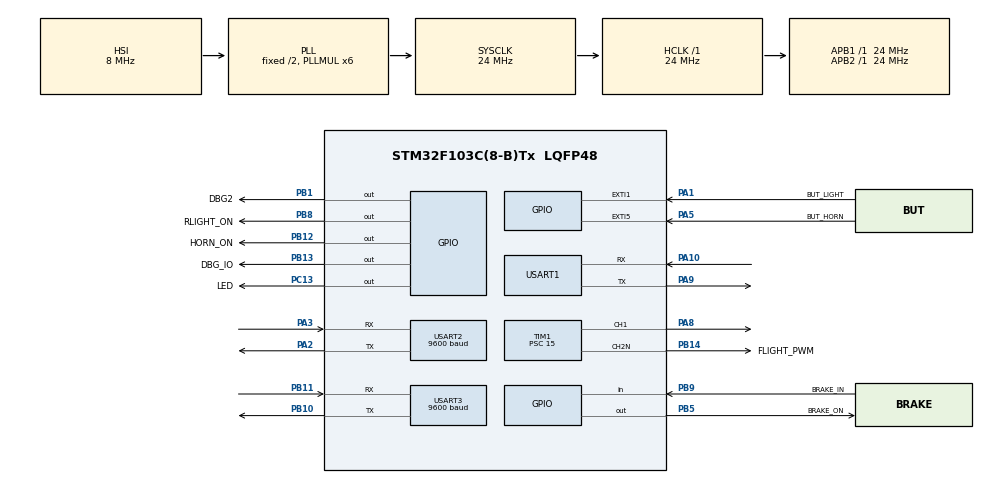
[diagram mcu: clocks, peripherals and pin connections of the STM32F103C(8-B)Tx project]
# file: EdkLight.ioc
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Dma.Request0=USART2_TX
Dma.Request1=USART3_TX
Dma.Request2=USART1_TX
Dma.USART1_TX.2.Direction=DMA_MEMORY_TO_PERIPH
Dma.USART1_TX.2.Instance=DMA1_Channel4
Dma.USART1_TX.2.MemDataAlignment=DMA_MDATAALIGN_BYTE
Dma.USART1_TX.2.MemInc=DMA_MINC_ENABLE
Dma.USART1_TX.2.Mode=DMA_NORMAL
Dma.USART1_TX.2.PeriphDataAlignment=DMA_PDATAALIGN_BYTE
Dma.USART1_TX.2.PeriphInc=DMA_PINC_DISABLE
Dma.USART1_TX.2.Priority=DMA_PRIORITY_LOW
Dma.USART2_TX.0.Direction=DMA_MEMORY_TO_PERIPH
Dma.USART2_TX.0.Instance=DMA1_Channel7
Dma.USART2_TX.0.MemDataAlignment=DMA_MDATAALIGN_BYTE
Dma.USART2_TX.0.MemInc=DMA_MINC_ENABLE
Dma.USART2_TX.0.Mode=DMA_NORMAL
Dma.USART2_TX.0.PeriphDataAlignment=DMA_PDATAALIGN_BYTE
Dma.USART2_TX.0.PeriphInc=DMA_PINC_DISABLE
Dma.USART2_TX.0.Priority=DMA_PRIORITY_LOW
Dma.USART3_TX.1.Direction=DMA_MEMORY_TO_PERIPH
Dma.USART3_TX.1.Instance=DMA1_Channel2
Dma.USART3_TX.1.MemDataAlignment=DMA_MDATAALIGN_BYTE
Dma.USART3_TX.1.MemInc=DMA_MINC_ENABLE
Dma.USART3_TX.1.Mode=DMA_NORMAL
Dma.USART3_TX.1.PeriphDataAlignment=DMA_PDATAALIGN_BYTE
Dma.USART3_TX.1.PeriphInc=DMA_PINC_DISABLE
Dma.USART3_TX.1.Priority=DMA_PRIORITY_LOW
Mcu.Family=STM32F1
Mcu.Name=STM32F103C(8-B)Tx
Mcu.Package=LQFP48
NVIC.DMA1_Channel2_IRQn=true\:0\:0\:false\:false\:true\:false\:true\:true
NVIC.DMA1_Channel4_IRQn=true\:0\:0\:false\:false\:true\:false\:true\:true
NVIC.DMA1_Channel7_IRQn=true\:0\:0\:false\:false\:true\:false\:true\:true
NVIC.EXTI1_IRQn=true\:1\:0\:true\:false\:true\:true\:true\:true
NVIC.EXTI9_5_IRQn=true\:1\:0\:true\:false\:true\:true\:true\:true
NVIC.PriorityGroup=NVIC_PRIORITYGROUP_4
NVIC.TIM2_IRQn=true\:0\:0\:false\:false\:true\:true\:true\:true
NVIC.TIM3_IRQn=true\:0\:0\:false\:false\:true\:true\:true\:true
NVIC.USART1_IRQn=true\:0\:0\:false\:false\:true\:true\:true\:true
NVIC.USART2_IRQn=true\:0\:0\:false\:false\:true\:true\:true\:true
NVIC.USART3_IRQn=true\:0\:0\:false\:false\:true\:true\:true\:true
PA1.GPIO_Label=BUT_LIGHT
PA1.GPIO_ModeDefaultEXTI=GPIO_MODE_IT_RISING_FALLING
PA1.GPIO_PuPd=GPIO_PULLUP
PA1.Signal=GPXTI1
PA10.Mode=Asynchronous
PA10.Signal=USART1_RX
PA13.Mode=Serial_Wire
PA13.Signal=SYS_JTMS-SWDIO
PA14.Mode=Serial_Wire
PA14.Signal=SYS_JTCK-SWCLK
PA2.Mode=Asynchronous
PA2.Signal=USART2_TX
PA3.Mode=Asynchronous
PA3.Signal=USART2_RX
PA5.GPIO_Label=BUT_HORN
PA5.GPIO_ModeDefaultEXTI=GPIO_MODE_IT_RISING_FALLING
PA5.GPIO_PuPd=GPIO_PULLUP
PA5.Signal=GPXTI5
PA8.Signal=S_TIM1_CH1
PA9.Mode=Asynchronous
PA9.Signal=USART1_TX
PB1.GPIO_Label=DBG2
PB1.Signal=GPIO_Output
PB10.Mode=Asynchronous
PB10.Signal=USART3_TX
PB11.Mode=Asynchronous
PB11.Signal=USART3_RX
PB12.GPIO_Label=HORN_ON
PB12.Signal=GPIO_Output
PB13.GPIO_Label=DBG_IO
PB13.Signal=GPIO_Output
PB14.GPIO_Label=FLIGHT_PWM
PB14.Mode=PWM Generation2 CH2N
PB14.Signal=TIM1_CH2N
PB5.GPIO_Label=BRAKE_ON
PB5.Signal=GPIO_Output
PB8.GPIO_Label=RLIGHT_ON
PB8.Signal=GPIO_Output
PB9.GPIO_Label=BRAKE_IN
PB9.GPIO_PuPd=GPIO_PULLUP
PB9.Signal=GPIO_Input
PC13-TAMPER-RTC.GPIO_Label=LED
PC13-TAMPER-RTC.Signal=GPIO_Output
ProjectManager.HeapSize=0x200
ProjectManager.StackSize=0x400
ProjectManager.TargetToolchain=STM32CubeIDE
RCC.AHBFreq_Value=24000000
RCC.APB1Freq_Value=24000000
RCC.APB1TimFreq_Value=24000000
RCC.APB2Freq_Value=24000000
RCC.APB2TimFreq_Value=24000000
RCC.HCLKFreq_Value=24000000
RCC.PLLMUL=RCC_PLL_MUL6
RCC.SYSCLKFreq_VALUE=24000000
RCC.SYSCLKSource=RCC_SYSCLKSOURCE_PLLCLK
RCC.USBFreq_Value=24000000
SH.S_TIM1_CH1.0=TIM1_CH1,PWM Generation1 CH1
TIM1.Channel-PWM\ Generation1\ CH1=TIM_CHANNEL_1
TIM1.Channel-PWM\ Generation2\ CH2N=TIM_CHANNEL_2
TIM1.Period=1024
TIM1.Prescaler=15
TIM1.Pulse-PWM\ Generation2\ CH2N=512
TIM2.Period=2048
TIM2.Prescaler=15
TIM3.CounterMode=TIM_COUNTERMODE_UP
TIM3.Period=2048
TIM3.Prescaler=15
USART1.VirtualMode=VM_ASYNC
USART2.BaudRate=9600
USART2.VirtualMode=VM_ASYNC
USART3.BaudRate=9600
USART3.VirtualMode=VM_ASYNC
VP_TIM1_VS_ClockSourceINT.Mode=Internal
VP_TIM2_VS_ClockSourceINT.Mode=Internal
VP_TIM3_VS_ClockSourceINT.Mode=Internal
board=custom

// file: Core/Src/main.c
/* USER CODE BEGIN Header */
/**
  ******************************************************************************
  * @file           : main.c
  * @brief          : Main program body
  ******************************************************************************
  * @attention
  *
  * Copyright (c) 2026 STMicroelectronics.
  * All rights reserved.
  *
  * This software is licensed under terms that can be found in the LICENSE file
  * in the root directory of this software component.
  * If no LICENSE file comes with this software, it is provided AS-IS.
  *
  ******************************************************************************
  */
/* USER CODE END Header */
#include "main.h"
#include "dma.h"
#include "tim.h"
#include "usart.h"
#include "gpio.h"

/* USER CODE BEGIN Includes */
#include <stdio.h>
#include <string.h>
#include <ctype.h>
/* USER CODE END Includes */

/* USER CODE BEGIN PM */
#define ARRAY_SIZE(x)  (sizeof(x)/sizeof(x[0]))
/* USER CODE END PM */

void SystemClock_Config(void);
/* USER CODE BEGIN PFP */
void Task_Ligth();
void MotDbg( char *str);

void SaveSetting();
/* USER CODE END PFP */

/* USER CODE BEGIN 0 */
#define SOFT_TIMEOUT	3 // ifdef use rx end of  message by soft time  time out else h/w timer used
//the 3  define the  time out in tick so between 2 and 3  ms given  1 ms error  on start and check
struct UartRcv_t {
	const char *Name; //human readable nick naleuse in log etc ..
	char RxByte; // recv byte
	volatile uint8_t nRx;   // Data cnt in Rx Buf
	uint8_t RxMax; // Size of burst

	char HdrByte; // first byte expected value

	int RxBufSz;
	char RxBuf[16]; //

	int nErr;
	volatile int TimedOut;
	uint32_t LastRcvGood; // tick last full msg received
	uint32_t LastRxTick; // last char received tick for soft time out handling
	uint32_t BadRx;
	UART_HandleTypeDef *huart;
	TIM_HandleTypeDef  *htim;
	void  (*Process)(struct UartRcv_t *Rx); //call when burst data received
};

// led set ticking in idle with low/high leelv state  fm light status => don' give info on live rx+f/w status
// Led set by process and then  toggle once by idle after short time is better
//   led blink until rx is ok ,if not bug f/W stuck ?
//   "static" led level high/low is the light sniffed level
volatile int light_upd; // flags set when edk reception done (potential light,speed  change )
volatile int LightOn=0; // set by com of edk+man when chanign one call SetLighON if nto then udpate wil loccur and net light task
volatile int EdkLightOn=0; // set by process to sniffed light  value
volatile int ManLightOn=0; // set by process to sniffed light  value
int LightOn_p=1; //task previous light level used (chg detection)
int OnLvl_p=0;   // previous ser ligh level
int HiBeam, HiBeam_p;
int FlightPwm = 0; //may init by ee or chg by button combo
uint32_t LedSetTick;
struct GlobStatus_t gStats;
//todo below make init value from nvm
volatile int OnLvl=512;

#define MinLongPressMs 1000  //ee read clip value

//motor
int MotRcvCnt=0;
char MotInfo[64];
int MotSpeed;
const int SpeedInvalid=0x7777; //until more than  noNove shall do
const int SpeedNoMove=0x0707;
int MotNoRxMaxMs = 1000; //normaly 15fps so 500ms+  well set invaldi speed
int MotTorque;
uint8_t MotStatus;

void DbgIO(int set){
	if( set ==0 || set ==1 )
		HAL_GPIO_WritePin(DBG_IO_GPIO_Port, DBG_IO_Pin, set);
	else
		HAL_GPIO_TogglePin(DBG_IO_GPIO_Port, DBG_IO_Pin);
}

void DbgIO2(int set){
	if( set ==0 || set ==1 )
		HAL_GPIO_WritePin(DBG2_GPIO_Port, DBG2_Pin, set);
	else
		HAL_GPIO_TogglePin(DBG2_GPIO_Port, DBG2_Pin);
}

uint32_t SumSerie(uint8_t *Data, int n){
	uint32_t sum;
	int i;
	for( i=0, sum=0; i<n; i++)
		sum+=Data[i];
	return sum;
}

//Rx shall have at least RaMax data this is not check here
/**
 * VAldiate buffer start byet and sum
 * Rx shall have at least RaMax data this is not check here
 * @param Rx The ex
 * @return 0 f validate non 0 otherwise
 */
int RxValidate(struct UartRcv_t *Rx) {
	uint32_t sum;
	if (Rx->RxBuf[0] == Rx->HdrByte ) {
		sum = SumSerie((uint8_t*) Rx->RxBuf, Rx->RxMax-1);
		if ( (sum & 0xFF) == Rx->RxBuf[Rx->RxMax - 1]) {
			return 0;//ok packet is valid
		}
	}
	return -1;
}

void  EdkProcess(struct UartRcv_t *Rx){
	if( RxValidate(Rx)==0 ){
		Rx->LastRcvGood = HAL_GetTick();
		EdkLightOn =Rx->RxBuf[1]&0x01; // bit 0 of control motor flags
		light_upd=1;
	}else {
		Rx->BadRx++;// shit rx 1 byte ?
	}
}

//from https://github.com/PetteriAimonen/STM32_Trace_Example/blob/master/trace_example.c
void ITM_Print(int port, const char *p)
{
    if ((ITM->TCR & ITM_TCR_ITMENA_Msk) && (ITM->TER & (1UL << port)))
    {
        while (*p)
        {
            while (ITM->PORT[port].u32 == 0);
            ITM->PORT[port].u8 = *p++;
        }
    }
}

void configure_tracing()
{
    /* STM32 specific configuration to enable the TRACESWO IO pin */
    RCC->APB2ENR |= RCC_APB2ENR_AFIOEN;
    AFIO->MAPR |= (2 << 24); // Disable JTAG to release TRACESWO
    DBGMCU->CR |= DBGMCU_CR_TRACE_IOEN; // Enable IO trace pins

    if (!(DBGMCU->CR & DBGMCU_CR_TRACE_IOEN))
    {
        // Some (all?) STM32s don't allow writes to DBGMCU register until
        // C_DEBUGEN in CoreDebug->DHCSR is set. This cannot be set by the
        // CPU itself, so in practice you need to connect to the CPU with
        // a debugger once before resetting it.
        return;
    }

    /* Configure Trace Port Interface Unit */
    CoreDebug->DEMCR |= CoreDebug_DEMCR_TRCENA_Msk; // Enable access to registers
    TPI->ACPR = 0; // Trace clock = HCLK/(x+1) = 8MHz = UART 's baudrate
                   // The HCLK of F105 is 8MHz so x is 0, and the F103 is 72MHz so x is 8
    TPI->SPPR = 2; // Pin protocol = NRZ/USART
    TPI->FFCR = 0x102; // TPIU packet framing enabled when bit 2 is set.
                       // You can use 0x100 if you only need DWT/ITM and not ETM.

    /* Configure PC sampling and exception trace  */
    DWT->CTRL = (1 << DWT_CTRL_CYCTAP_Pos) // Prescaler for PC sampling
                                           // 0 = x64, 1 = x1024
              | (0 << DWT_CTRL_POSTPRESET_Pos) // Postscaler for PC sampling
                                                // Divider = value + 1
              | (1 << DWT_CTRL_PCSAMPLENA_Pos) // Enable PC sampling
              | (2 << DWT_CTRL_SYNCTAP_Pos)    // Sync packet interval
                                               // 0 = Off, 1 = Every 2^23 cycles,
                                               // 2 = Every 2^25, 3 = Every 2^27
              | (1 << DWT_CTRL_EXCTRCENA_Pos)  // Enable exception trace
              | (1 << DWT_CTRL_CYCCNTENA_Pos); // Enable cycle counter

    /* Configure instrumentation trace macroblock */
    ITM->LAR = 0xC5ACCE55;
    ITM->TCR = (1 << ITM_TCR_TraceBusID_Pos) // Trace bus ID for TPIU
             | (1 << ITM_TCR_DWTENA_Pos) // Enable events from DWT
             | (1 << ITM_TCR_SYNCENA_Pos) // Enable sync packets
             | (1 << ITM_TCR_ITMENA_Pos); // Main enable for ITM
    ITM->TER = 0xFFFFFFFF; // Enable all stimulus ports

    /* Configure embedded trace macroblock */

}

void  MotProcess(struct UartRcv_t *Rx){
	if( RxValidate(Rx)==0 ){
		Rx->LastRcvGood = HAL_GetTick();

		MotStatus=Rx->RxBuf[2];
		if(Rx->RxBuf[4]> Rx->RxBuf[3])
			MotTorque=Rx->RxBuf[4]-Rx->RxBuf[3]; //only if 4 > 3 or motot on else vive negative number or status say mot on
		else
			MotTorque=0;
		MotSpeed=Rx->RxBuf[7]+((uint32_t)Rx->RxBuf[7]<<8); // max 0x0707 / 1799 when stoped of very slow
		//once every sec trace
		if( MotRcvCnt++ > 15){
			sprintf(MotInfo,"St %02X S %d C %d",MotStatus, MotSpeed, MotTorque );
			MotDbg(MotInfo);
			//ITM_Print(0, MotInfo);
			MotRcvCnt=0;
		}
	}else {
		// shit rx 1 byte ?
		Rx->BadRx++;
	}
}

/**USART1 GPIO Configuration
   PA9     ------> USART1_TX
   PA10     ------> USART1_RX to usb
   */

struct UartRcv_t   EdkRx = {
		.Name ="Edk",
		.RxMax = 7, // edk sent 7 byte per packet
		.HdrByte = 0x59,
		.RxBufSz = sizeof(EdkRx.RxBuf),
		.huart = &huart2,
		/**USART2 GPIO Configuration
		PA2     ------> USART2_TX
		PA3     ------> USART2_RX
		*/
		.htim = &htim2,
		.Process = EdkProcess,
};

struct UartRcv_t   MotRx = {
		.Name ="Mot",
		.RxMax = 9, // tsdz2b sent 8 byte per packet
		.HdrByte = 0x43,
		.RxBufSz = sizeof(MotRx.RxBuf),
		.huart = &huart3,
		/**USART3 GPIO Configuration
		  PB10     ------> USART3_TX
		  PB11     ------> USART3_RX
		  */
		.Process = MotProcess,
};

struct UartRcv_t UsbRx = {
	.Name ="Usb",
	.RxMax =  sizeof(UsbRx.RxBuf) -1 , // keep one to add 0 en f=to use string function
	.RxBufSz = sizeof(UsbRx.RxBuf),
	.huart = &huart1,
	// no process not header
};

void KickRx(struct UartRcv_t *Rx){
	Rx->nRx=0;
#ifdef SOFT_TIMEOUT
	Rx->LastRxTick= HAL_GetTick();
#else
	__HAL_TIM_DISABLE(Rx->htim);
#endif
	HAL_UART_Receive_IT(Rx->huart, (void*)Rx->RxBuf,1);
}

void Rcv_ReamTimeOut(struct UartRcv_t *Rx){
#ifdef SOFT_TIMEOUT
	Rx->LastRxTick = HAL_GetTick();
#else
	if( RxRx->htim != NULL ){
		Rx->htim->Instance->CNT=0;
		__HAL_TIM_CLEAR_FLAG(Rx->htim, TIM_FLAG_UPDATE);
		__HAL_TIM_ENABLE_IT(Rx->htim, TIM_IT_UPDATE);
		__HAL_TIM_ENABLE(Rx->htim);
		DbgIO(-1);
	}else
		Rx->LastRxTick = HAL_GetTick();
#endif
}

void HAL_UART_RxCpltCallback(UART_HandleTypeDef *huart){
	struct UartRcv_t  *Rx = huart == EdkRx.huart ? &EdkRx : huart == MotRx.huart  ? &MotRx : &UsbRx;
	if(Rx->nRx < Rx->RxBufSz ){
		Rx->RxBuf[Rx->nRx]=Rx->RxByte;
		Rx->nRx++;
	}
	else {
		//how can ? idle is dead not picking ?
	}
	HAL_UART_Receive_IT(Rx->huart, (void*)&Rx->RxByte,1);

	if( Rx->nRx < Rx->RxMax ) // when full packet received no need to use idle time for end of burst detection
		Rcv_ReamTimeOut(Rx);  // save cpu time and minimize race timer isr/idle rx check
}

void HAL_UART_TxCpltCallback(UART_HandleTypeDef *huart){
	if( huart == UsbRx.huart){
		LogTxComplete();
	}
}
void HAL_UART_ErrorCallback(UART_HandleTypeDef *huart){
	struct UartRcv_t  *Rx = huart == EdkRx.huart ? &EdkRx : huart == MotRx.huart  ? &MotRx : &UsbRx;
	Rx->nErr++;
	//Rx->nRx = 0;
	//We could continue on the end crc +  timeout with not enough data  will says if good anyway
	//  if error is due to some glitch extra rcv , it can  be good on the end
	HAL_UART_Receive_IT(Rx->huart, (void*)&Rx->RxByte,1);
	Rcv_ReamTimeOut(Rx);
}

void HAL_TIM_PeriodElapsedCallback(TIM_HandleTypeDef *htim){
	struct UartRcv_t  *Rx = htim == EdkRx.htim ? &EdkRx : &MotRx;
	__HAL_TIM_DISABLE_IT(Rx->htim, TIM_IT_UPDATE);
	__HAL_TIM_DISABLE(htim);
	DbgIO(-1);
	htim->Instance->CNT = 0 ;
	Rx->TimedOut = 1;
}

/**
 * reset reception
 */
void RxReset( struct UartRcv_t  *Rx){
	 Rx->nRx = 0 ;
	 Rx->TimedOut = 0;
#ifdef SOFT_TIMEOUT
	 Rx->LastRxTick = HAL_GetTick();
#endif
}

void LedCheck(){
	if( HAL_GetTick() - LedSetTick > 250 ){
		LedSetTick = HAL_GetTick();
		HAL_GPIO_TogglePin(LED_GPIO_Port, LED_Pin);
	}
}

#define inrange( x , min , max ) ( ((x)>= (min)) && ((x)<=(max)) )
#define MIN(a,b) ((a)<(b) ? (a):(b))

int SetupStayMS=1000; //time/Speed each ligh level stay before next
struct Setup_t {
	unsigned SetupActiv : 1;
	uint8_t RepCnt;
	uint16_t CurLvl;
	uint32_t StepStartTick;
}Setup;

enum ButState_e {
	BStWaitPress=0,
	BStLongWait = 1,
	BStLongDone = 2 , // wait long done action now wait release or else
};

void LbutSetup(){
	Log("Setup\n");
	if( LightOn ){ // enable on light on only  still possibel w/o mcd/moto via button on first
		if( Setup.SetupActiv == 0 ){
			Setup.SetupActiv = 1;
			Setup.RepCnt = 0;
			Setup.StepStartTick = HAL_GetTick();
			Setup.CurLvl = OnLvl;
		}
	}
}

void SetLighOn(){
	LightOn=EdkLightOn|ManLightOn;
}

void Lbut_EventCb(int event){
	switch( event ){
	case Lbut_EvShort :
		HiBeam= !HiBeam;
	break;
	case Lbut_EvLong :
		ManLightOn = ! ManLightOn;
		SetLighOn();
	break;
	}
}
/**
 *
 * @param lvl 0..1024
 */
void Light_SetLvl(int lvl){
	htim1.Instance->CCR2 = lvl; //OnLvl 1 pulse low all over hight 1025 (arr+1) for full on
}
//Call only if activ
int  SetupLvl(uint32_t now) {
	if (now - Setup.StepStartTick > SetupStayMS) {
		Setup.CurLvl += 1024 / 8;
		if (Setup.CurLvl > 1024+127 ) { //We want a case 100%
			if (Setup.RepCnt++ > 3) {
				Setup.SetupActiv =0;
				Log("Setup cancel\n");
				return OnLvl;
			}
			Setup.CurLvl = 128;
		}
		Setup.StepStartTick = now;
		Log("Setup %d\n",Setup.CurLvl);
	}

	return  Setup.CurLvl; //full on when but pressed unless some pause
}

void ChgLevel(){
	Setup.SetupActiv = 0;
	Log("Setup chg %d => %d\n", OnLvl, Setup.CurLvl);
	OnLvl = Setup.CurLvl == 1024 ? 1025 :  Setup.CurLvl  ; //the loop roll at 1024 but we want dc full on not 999.9%  pwm
	SaveSetting();
}

void Task_Ligth(){
	uint32_t now;
	int ButChg;

	uint8_t ButLvl =  HAL_GPIO_ReadPin(BUT_LIGHT_GPIO_Port, BUT_LIGHT_Pin);
	now = HAL_GetTick();
	ButChg = task_Lbut( now, ButLvl);

	if( ButChg && Setup.SetupActiv  ){ //not that setup is entered after reste tiemof button after 3+2 pulse
		ChgLevel(); //capture current level when change while setup active (do not wait release)
	}
	SetLighOn();

	if( LightOn != LightOn_p ||OnLvl != OnLvl_p || ButChg || Setup.SetupActiv || HiBeam != HiBeam_p){
		int IsOn, OnLv;
		LightOn_p = LightOn;
		OnLvl_p = OnLvl;
		HiBeam_p = HiBeam;

		IsOn = LightOn || ButLvl==0; //When pressed force high/on
		//When pulse press and on we shall set off few msec to emphasis light pulse
		//WHen main light is short pulse may be used to toogle hgh/lwo beam hih/low
		if( FlightPwm ){
			if( Setup.SetupActiv ){
				OnLv = SetupLvl(now);
			}
			else{

				OnLv = ButLvl ==0 || HiBeam ?  1025 : OnLvl; //full on when but pressed or high  unless some pause ? or hih/low
			}
			Light_SetLvl(IsOn || Setup.SetupActiv  ? OnLv  : 0);
			//We repeat Setup.SetupActiv as it may got off but even we wan't would be ok
		}
		else {
			HAL_GPIO_WritePin(FLIGHT_PWM_GPIO_Port,FLIGHT_PWM_Pin, IsOn);
		}
		HAL_GPIO_WritePin(RLIGHT_ON_GPIO_Port, RLIGHT_ON_Pin, LightOn); // real ligh no pww not chg on flash by button
	}
	//rear light is  on until display say on
	HAL_GPIO_WritePin(RLIGHT_ON_GPIO_Port, RLIGHT_ON_Pin, LightOn );

}

struct BrakeeData_t {
	unsigned  state :1;
	unsigned  stoped:1;
	unsigned  Active :1;
	uint32_t LastChg;
	uint32_t StropedStart;
}Brake;

int BrakeDebounceMs = 2;
int BrakeOffTimeMS = 4000; // afster 4s speed 0 and brake press stop teh brake lihj

void MotMakeLost(){
	MotSpeed = SpeedInvalid;
}
//does the mot lost too
void Task_Brake(){
	uint32_t now;
	int BrakeHide = 0;
	now = HAL_GetTick();
	if( now - MotRx.LastRcvGood > MotNoRxMaxMs){
		//Assume lost com or off
		MotMakeLost();
	}
	int BrakeIn = HAL_GPIO_ReadPin(BRAKE_IN_GPIO_Port, BRAKE_IN_Pin);
	if( Brake.state != BrakeIn ){
		Brake.LastChg= now;
		Brake.state = BrakeIn;
	}
//	if( now - Brake.LastChg < BrakeDebounceMs ){
//		return;
//	}
	BrakeHide = 0; //Don't hide default
	if(BrakeIn == 0 ){ // active
		if( MotSpeed == SpeedNoMove ){
			if( Brake.stoped == 0  ){
				Brake.stoped =1;  // stop first seen
				Brake.StropedStart = now;//Start counting tile
			}
			else { // keep stoped check time for hiding stoping brake light
				BrakeHide = now - Brake.StropedStart > BrakeOffTimeMS;
			}
		}
		else {
			Brake.stoped = 0; //move hence not stoped
		}
	}
	else {
		Brake.stoped = 0;
	}
	Brake.Active = (BrakeIn==0) && (! BrakeHide)  ;
	HAL_GPIO_WritePin(BRAKE_ON_GPIO_Port, BRAKE_ON_Pin, Brake.Active);
}

void Task_Horn(){
	int HornIn = HAL_GPIO_ReadPin(BUT_HORN_GPIO_Port, BUT_HORN_Pin);
	HAL_GPIO_WritePin(HORN_ON_GPIO_Port, HORN_ON_Pin, !HornIn); // io  is pull-up with button short to gnd
}

// test sequence we send to ourself
static uint8_t Pas1_Ligh0[] ={ 0x59, 0x80, 0x00, 0x1A, 0x00, 0x3C, 0x2F }; //EDK sent PAS 1 light off
static uint8_t Pas2_Ligh1[] ={ 0x59, 0x41, 0x00, 0x1A, 0x00, 0x3C, 0xF0 }; //EDK sent PAS 12 light on
uint8_t *DbgTx= Pas2_Ligh1; //change during debug session  to one  above array or data to send ptr

/**
 * send actual DbgTx data array on Mot Tx (externaly  wired to Edk Rx for dev and debug)
 * @param Cnt [in/out] byte count to send ,  cleared at output
 */
void DoDbgTx(int *Cnt){
	if( Cnt && MotRx.huart->gState ==  HAL_UART_STATE_READY ){
		HAL_UART_Transmit_DMA(MotRx.huart, DbgTx,*Cnt);
		*Cnt= 0;
	}
}
//for debug We send motor just recived info on edk tx once evey n
void MotDbg( char *str){
	int n;
	if ( EdkRx.huart->gState ==  HAL_UART_STATE_READY ){
		n=strlen(str);
		HAL_UART_Transmit_DMA(EdkRx.huart, (void*)str, n);
	}
}

//  state     cond/event -> next {action}; * rep cond act ...
// rest state = high (pull up ) button short capacitor to gnd
//  Idle      :   lowEdge -> SHortWait {SetLigh(full) , TimeEdge=now} ;
//  ShortWait :  HighEdge -> Idle {LightOff, if time fm last short < tdbl -> dbl click ()} ;
//               TFromEdge > Long  -> LongWait { SetLigh(lvl) }
// LongWait   :  HighEdge ->Idle { Store new lvl if chg}

// short  from ligh off et on stop on release "short beam warn"
// short when on => nothing of set lvl max , short off befoe one "high beam warm"
// long turn on/off as time > no action on release
// very long  ? => enter  lvl setting level  increase level rotating in aprox  1 sec step and set new lev on release

void InitLight(){
	// tim1 ch2n
	FlightPwm=1; //get from ee
	htim1.Instance->CCR1 = 0; //Set off default before first  update done
	HAL_TIM_PWM_Start(&htim1, TIM_CHANNEL_1);
	HAL_TIMEx_PWMN_Start(&htim1, TIM_CHANNEL_2);
	Light_SetLvl(0);
}

struct UCmd_t {
	const char * cmd ;
	const char * help;
	int len;
	void (*validate)(struct UCmd_t *, char*);
};

int CmdL;
#define IsBlank(x) (x==' ' || x == '\t' || x == '\r' || x == '\n')
void ValidateLight(struct UCmd_t *cmd, char *str){
	int v,n;
	if( !IsBlank(str[cmd->len]) ){
		//we need white space and then only value
		return;
	}
	n = sscanf(str+cmd->len ,"%d", &v);
	if( n < 1)
		return ;

	if( v<0 ){
		v =0;
	}
	else if ( v>= 100 ){
		v= 100;
	}
	OnLvl = v*1024/100;
	Log("Lvl set %d %d%%",OnLvl, v );
}

void CmdStat(struct UCmd_t *cmd, char *str);
void CmdConf(struct UCmd_t *cmd, char *str);
void CmdErase(struct UCmd_t *cmd, char *str);

struct UCmd_t Cmds[]= {
		/*warning parser is over simple not too command can start the same or if they do
		 * the longest one must be place first so longest match/cmp  is done first
		 *
		 */
		{ .cmd = "lvl", .validate = ValidateLight , .help="% d 0-100 %% pwm"},
		{ .cmd = "stat", .validate = CmdStat , .help="do log status"},
		{ .cmd = "conf", .validate = CmdConf , .help="show config"},
		{ .cmd = "erase", .validate = CmdErase , .help="Erase ee (def config)"},
};

struct UsbTask_t {
	int LastNRx; //to detect  new char arrival on usb rx
	uint32_t StatusErr;
}UsbTh;

void DoHelp(){
	Log("\n?\n");
}

struct UartRcv_t *RxLut[] = {
		&EdkRx,
		&MotRx,
		&UsbRx
};

int UsbRxWaitTxrdy(int MsMax){
	uint32_t t0 = HAL_GetTick();
	do {
		if ( UsbRx.huart->gState ==  HAL_UART_STATE_READY ){
				return 0;
		}
	}while(HAL_GetTick() - t0 < MsMax);
	return -1;
}

void LogConf(){
	Log("Conf : Lvl %d %d%% L Press %ds\n", OnLvl, OnLvl*100/1024, LongPressMs/1000);
}

void DoStatus(){
	int i;
	struct UartRcv_t *Rx;
	Log("Now %u\n", (unsigned)HAL_GetTick());
	for( i=0 ; i < ARRAY_SIZE(RxLut); i++ ){
		Rx=RxLut[i];
		Log("%s\nBadRX %u Err %u\n", Rx->Name, (unsigned)Rx->BadRx, (unsigned)Rx->nErr);
		Log("Lg %u Lrx %u\n", (unsigned)Rx->LastRcvGood, (unsigned)Rx->LastRxTick);
	}
	Log("Th stat err %u\n", (unsigned)UsbTh.StatusErr);
	Log("Log empty %d Wrap %d Drop %d Wait %d\n ",
			Stats(EmptyLog), Stats(WrapLog), Stats(DropLog),Stats(WaitLog));
	LogConf();
}

void SaveSetting(){
	struct EeData_t Set={0};
	Set.FrontLevel = 100*OnLvl/1024;
	Set.LongPressSec = LongPressMs / 1000;
	EeSetEntry(&Set);
}

void SetConfFromEe(const struct EeData_t *Activ){
	OnLvl = Activ->FrontLevel* 1024/100;
	LongPressMs = Activ->LongPressSec*1000;
	LongPressMs = LongPressMs < MinLongPressMs ? MinLongPressMs : LongPressMs; // as 0 may lead to strnage behavior clip some value

}

void InitConf(){
	const struct EeData_t *Activ;
	Activ = EeActiveEntry();
	if( Activ != NULL ){
		if( EeIsValidEntry(Activ) ) {
			SetConfFromEe(Activ);
		}else {
			//We are default but active is false update it;
			//TODO we could have some special blink horn/light sequence to say so as this is not normal
			//
			SaveSetting();
		}
	}
	//null we are default nothing to do
}

void CmdConf(struct UCmd_t *cmd, char *str){
	LogConf();
}

void CmdErase(struct UCmd_t *cmd, char *str){
	EeFullErase();
}
void CmdStat(struct UCmd_t *cmd, char *str){
	DoStatus();
}

#define IsBlank(x) (x==' ' || x == '\t' || x == '\r' || x == '\n')
void UCmdCheck(){
	int i,c, match,n;
	char cmd[32];

	if( UsbRx.nRx <=  UsbTh.LastNRx )
		return;
	if( UsbRx.nRx >=  UsbRx.RxMax ){
		//shift ? trash
	}
	//local ehco if no data to send direct handlign else put to what to send or discard ;
	Log("%c",UsbRx.RxBuf[UsbTh.LastNRx]);

	//Trim the input discard any blank and non alpha likely junk
	i=0;
	while( ( !isalpha( ( (int)UsbRx.RxBuf[i]) ) || IsBlank(UsbRx.RxBuf[i] ) ) && i < UsbRx.nRx ){
		i++;
	}
	// trim and update ptr must be done int clr to avoid race with uuart handler
	if( i != 0 ){
		__disable_irq();
		if( UsbRx.nRx  -i > 1 ){
			//else mean nothing left no need to move
			memmove(UsbRx.RxBuf, UsbRx.RxBuf+i, UsbRx.nRx-i );
		}
		n= (UsbRx.nRx-=i); //may be 0 now
		__enable_irq();
	}
	else
		n =  UsbRx.nRx; // UsbRx.nRx +1 is bad mean 1 char/ms/loops but race of use UsbRx.nRx is high without trim

	// check if we have \n if not not evben check stop using nRx racy but n from now
	if( n <1 )
		goto done;
	memcpy(cmd,UsbRx.RxBuf,  n); //content can change in irq handle best cpy avosi any issue
	cmd[n]=0;
	match=0;
	if( cmd[n-1]== '\r'  || cmd[n-1]== '\n' ){
		for( c=0; c<ARRAY_SIZE(Cmds );c++){
			if( Cmds[c].len <= UsbRx.nRx ){ // we have at least cmd len data
				if( strncmp(cmd, Cmds[c].cmd, Cmds[c].len ) == 0 ){
					match = 1;
					break;
				}
			}
		}

		if( match ){
			Cmds[c].validate(Cmds+c, cmd);
			UsbRx.nRx = n = 0; //fixme Remove the cmd or reset all ?
		}
		else
		{
			UsbRx.BadRx++; // reset or not
			UsbRx.nRx = n = 0; // full no command reset
			DoHelp();
		}
	}
	else{
		//todod check we're full trash UsbRx.nRx = n =
	}
done:
	UsbTh.LastNRx=n;
}

void UCmdInit(){
	int i;
	for( i=0; i<ARRAY_SIZE(Cmds );i++){
		Cmds[i].len = strlen(Cmds[i].cmd);
	}
}

/* USER CODE END 0 */

int main(void)
{

  /* USER CODE BEGIN 1 */
	  struct UartRcv_t  *Rx;
	  int i;
	  volatile int DbgTxCnt=0;
	  volatile int RepDbg=0;
	  int TickNext=0;
	  volatile int trace_en=0; /// for dynamaic when dbg attach to enable trace
	  volatile int trace_test=0;
  /* USER CODE END 1 */

  /* MCU Configuration--------------------------------------------------------*/

  /* Reset of all peripherals, Initializes the Flash interface and the Systick. */
  HAL_Init();

  /* Configure the system clock */
  SystemClock_Config();

  /* USER CODE BEGIN SysInit */
  DbgTx= RepDbg ? Pas2_Ligh1 : Pas1_Ligh0; //Trick to avoid  data removed at link cos unused
  /* USER CODE END SysInit */

  /* Initialize all configured peripherals */
  MX_GPIO_Init();
  MX_DMA_Init();
  MX_USART1_UART_Init();
  MX_USART2_UART_Init();
  MX_TIM2_Init();
  MX_TIM3_Init();
  MX_TIM1_Init();
  MX_USART3_UART_Init();
  /* USER CODE BEGIN 2 */
  //configure_tracing();
  //DoLog("Boot");
  //ee_check();
  InitConf();
  UCmdInit();
  InitLight();
  Task_Ligth(); // init prev
  KickRx(&EdkRx);
  KickRx(&MotRx);
  KickRx(&UsbRx);

  /* USER CODE END 2 */

  /* Infinite loop */
  /* USER CODE BEGIN WHILE */
  while (1)
  {
  	  //Check for 2 Rx time out out Rx limit
	  for( i=0; i<2; i ++ ) { //dbgg only run the displauy rx
		 Rx = i==0 ? &EdkRx : &MotRx;

		 if ( Rx->nRx >=  Rx->RxMax ){
			 if(Rx->Process )
					Rx->Process(Rx);
			 RxReset(Rx);
			 //When process/validate is bad shift data out rather than reset any better ?
			 // this can cope with case we had data from prev or junk + current packet still  entering
			 // this shall not occur with no rx time out detection any partial packet is droped.

		 }else {
#ifdef SOFT_TIMEOUT
			 if( Rx->nRx > 0){ //no time handlign until rcv anything
				 Rx->TimedOut = HAL_GetTick()  - Rx->LastRxTick > SOFT_TIMEOUT;
			 }
#endif
			 if( Rx->TimedOut && Rx->nRx < Rx->RxMax ){ // repeat check minimize unlikely race effect
				 RxReset(Rx);
			 }
		 }
	  }
	  //todo handle usb rx
	  UCmdCheck();
	  if( DbgTxCnt || RepDbg ){
		  // do debug tx
		  if( RepDbg && HAL_GetTick() > TickNext ) {
			  DbgTxCnt=7;
			  RepDbg--;
			  TickNext = HAL_GetTick()+ 66; //66  ms 15Hz as lcd rate
			  DoDbgTx((void*)&DbgTxCnt);
		  }
	  }
	  Task_Brake();
	  LedCheck();
	  Task_Ligth();
	  Task_Horn();
	  if( trace_en){
		  configure_tracing();
		  trace_en = 0;
	  }
	  if( trace_test){
		  sprintf(MotInfo, "Test %d", (int)HAL_GetTick());
		  ITM_Print(0,MotInfo);
		  trace_test=0;
	  }
    /* USER CODE END WHILE */

  }
}

void SystemClock_Config(void)
{
  RCC_OscInitTypeDef RCC_OscInitStruct = {0};
  RCC_ClkInitTypeDef RCC_ClkInitStruct = {0};

  /** Initializes the RCC Oscillators according to the specified parameters
  * in the RCC_OscInitTypeDef structure.
  */
  RCC_OscInitStruct.OscillatorType = RCC_OSCILLATORTYPE_HSI;
  RCC_OscInitStruct.HSIState = RCC_HSI_ON;
  RCC_OscInitStruct.HSICalibrationValue = RCC_HSICALIBRATION_DEFAULT;
  RCC_OscInitStruct.PLL.PLLState = RCC_PLL_ON;
  RCC_OscInitStruct.PLL.PLLSource = RCC_PLLSOURCE_HSI_DIV2;
  RCC_OscInitStruct.PLL.PLLMUL = RCC_PLL_MUL6;
  if (HAL_RCC_OscConfig(&RCC_OscInitStruct) != HAL_OK)
  {
    Error_Handler();
  }

  /** Initializes the CPU, AHB and APB buses clocks
  */
  RCC_ClkInitStruct.ClockType = RCC_CLOCKTYPE_HCLK|RCC_CLOCKTYPE_SYSCLK
                              |RCC_CLOCKTYPE_PCLK1|RCC_CLOCKTYPE_PCLK2;
  RCC_ClkInitStruct.SYSCLKSource = RCC_SYSCLKSOURCE_PLLCLK;
  RCC_ClkInitStruct.AHBCLKDivider = RCC_SYSCLK_DIV1;
  RCC_ClkInitStruct.APB1CLKDivider = RCC_HCLK_DIV1;
  RCC_ClkInitStruct.APB2CLKDivider = RCC_HCLK_DIV1;

  if (HAL_RCC_ClockConfig(&RCC_ClkInitStruct, FLASH_LATENCY_0) != HAL_OK)
  {
    Error_Handler();
  }
}

void Error_Handler(void)
{
  __disable_irq();
  while (1)
  {
  }
}
